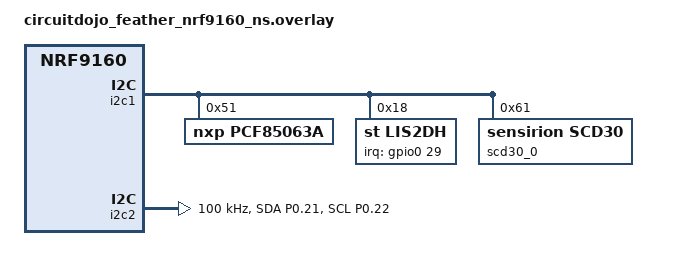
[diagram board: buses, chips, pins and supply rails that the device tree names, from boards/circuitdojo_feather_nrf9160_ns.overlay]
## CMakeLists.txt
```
# Copyright (c) 2022-2023 Golioth, Inc.
# SPDX-License-Identifier: Apache-2.0

cmake_minimum_required(VERSION 3.20.0)

find_package(Zephyr REQUIRED HINTS $ENV{ZEPHYR_BASE})

project(rd_template)

if(CONFIG_SPS30)
    zephyr_include_directories(${WEST_TOPDIR}/app/external/sensirion/embedded-common/common)
    zephyr_include_directories(${WEST_TOPDIR}/app/external/sensirion/embedded-common/i2c)
    zephyr_include_directories(${WEST_TOPDIR}/app/external/sensirion/embedded-sps/sps-common)
    zephyr_include_directories(${WEST_TOPDIR}/app/external/sensirion/embedded-sps/sps30-i2c)
endif()

target_sources(app PRIVATE src/main.c)
target_sources(app PRIVATE src/app_rpc.c)
target_sources(app PRIVATE src/app_settings.c)
target_sources(app PRIVATE src/app_state.c)
target_sources(app PRIVATE src/app_sensors.c)
if(CONFIG_SPS30)
    target_sources(app PRIVATE src/sensors.c)
    target_sources(app PRIVATE ${WEST_TOPDIR}/app/external/sensirion/embedded-common/common/sensirion_common.c)
    target_sources(app PRIVATE ${WEST_TOPDIR}/app/external/sensirion/embedded-common/i2c/sensirion_i2c_hal.c)
    target_sources(app PRIVATE ${WEST_TOPDIR}/app/external/sensirion/embedded-common/i2c/sensirion_i2c.c)
    target_sources(app PRIVATE ${WEST_TOPDIR}/app/external/sensirion/embedded-sps/sps30-i2c/sps30.c)
endif()
add_subdirectory_ifdef(CONFIG_ALUDEL_BATTERY_MONITOR src/battery_monitor)
```

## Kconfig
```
# Copyright (c) 2022-2023 Golioth, Inc.
# SPDX-License-Identifier: Apache-2.0

mainmenu "Golioth application options"

if DNS_RESOLVER

config DNS_SERVER_IP_ADDRESSES
	default y

config DNS_SERVER1
	default "1.1.1.1"

endif # DNS_RESOLVER

config SPS30
    bool "Enable SPS30 sensor support"
    default n
    help
        This option enables support for the SPS30 Particulate Matter sensor.

rsource "src/battery_monitor/Kconfig"

source "Kconfig.zephyr"
```

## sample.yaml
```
# Copyright (c) 2022-2023 Golioth, Inc.
# SPDX-License-Identifier: Apache-2.0

sample:
  description: Golioth Reference Design Template
  name: rd_template
common:
  harness: net
  platform_allow: >
    nrf9160dk_nrf9160_ns
    esp32_devkitc_wroom
  tags: golioth
```

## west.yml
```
# Copyright (c) 2022-2023 Golioth, Inc.
# SPDX-License-Identifier: Apache-2.0

manifest:
  version: 0.8

  projects:
    - name: golioth
      path: modules/lib/golioth-firmware-sdk
      revision: v0.11.1
      url: https://github.com/golioth/golioth-firmware-sdk.git
      west-commands: scripts/west-commands.yml
      submodules: true
      import:
        file: west-ncs.yml
        path-prefix: deps
        name-allowlist:
          - nrf
          - zephyr
          - cmsis
          - hal_nordic
          - mbedtls
          - mbedtls-nrf
          - mcuboot
          - net-tools
          - nrfxlib
          - qcbor
          - segger
          - tfm-mcuboot
          - tinycrypt
          - trusted-firmware-m
          - zcbor

    - name: golioth-zephyr-boards
      path: deps/modules/lib/golioth-boards
      revision: v1.0.1
      url: https://github.com/golioth/golioth-zephyr-boards

    - name: libostentus
      path: deps/modules/lib/libostentus
      revision: v1.0.0
      url: https://github.com/golioth/libostentus

    - name: zephyr-network-info
      path: deps/modules/lib/network-info
      revision: v1.1.0
      url: https://github.com/golioth/zephyr-network-info

    - name: sensirion_drivers
      path: modules/sensirion_drivers
      url: https://github.com/nobodyguy/sensirion_zephyr_drivers
      revision: main

    - name: sensirion-embedded-common
      path: app/external/sensirion/embedded-common
      revision: 08c9924e33b69b650fa36eed6cbdd29479d25ab6
      url: https://github.com/golioth/sensirion-embedded-common.git

    - name: sensirion-embedded-sps
      path: app/external/sensirion/embedded-sps
      revision: ef781982b917249ebdafd30673b281b7c3f0764a
      url: https://github.com/golioth/sensirion-embedded-sps.git

  self:
    path: app
```

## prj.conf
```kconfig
# Copyright (c) 2022-2023 Golioth, Inc.
# SPDX-License-Identifier: Apache-2.0

# Enable Golioth Firmware SDK
CONFIG_GOLIOTH_FIRMWARE_SDK=y

# Golioth services used in this app
CONFIG_GOLIOTH_FW_UPDATE=y
CONFIG_GOLIOTH_LIGHTDB_STATE=y
CONFIG_LOG_BACKEND_GOLIOTH=n
CONFIG_GOLIOTH_RPC=y
CONFIG_GOLIOTH_SETTINGS=y
CONFIG_GOLIOTH_STREAM=y

# Enable common sample library
CONFIG_GOLIOTH_SAMPLE_COMMON=y

# Application
CONFIG_MAIN_STACK_SIZE=2048
CONFIG_SYSTEM_WORKQUEUE_STACK_SIZE=2048

# Flash memory (etc.) for firmware upgrade
CONFIG_FLASH=y
CONFIG_FLASH_MAP=y
CONFIG_NVS=y
CONFIG_STREAM_FLASH=y
CONFIG_IMG_MANAGER=y
CONFIG_IMG_ERASE_PROGRESSIVELY=y
CONFIG_REBOOT=y

# The rest of the runtime credentials config
CONFIG_SETTINGS=y
CONFIG_SETTINGS_RUNTIME=y
CONFIG_GOLIOTH_SAMPLE_PSK_SETTINGS=y
CONFIG_GOLIOTH_SAMPLE_SETTINGS_AUTOLOAD=y
CONFIG_GOLIOTH_SAMPLE_SETTINGS_SHELL=y

# Misc.
CONFIG_JSON_LIBRARY=y
CONFIG_NETWORK_INFO=y
CONFIG_I2C=y

# Firmware version used in DFU process
CONFIG_MCUBOOT_IMGTOOL_SIGN_VERSION="2.0.0"

CONFIG_I2C=y
CONFIG_SENSOR=y
CONFIG_SCD30=y

CONFIG_FPU=y
```

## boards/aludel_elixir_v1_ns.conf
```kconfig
# Copyright (c) 2023 Golioth, Inc.
# SPDX-License-Identifier: Apache-2.0

# General config
CONFIG_HEAP_MEM_POOL_SIZE=4096
CONFIG_NEWLIB_LIBC=y

# Networking
CONFIG_NET_SOCKETS_OFFLOAD=y
CONFIG_NET_IPV6=y
CONFIG_NET_IPV6_NBR_CACHE=n
CONFIG_NET_IPV6_MLD=n

# Increase native TLS socket implementation, so that it is chosen instead of
# offloaded nRF91 sockets
CONFIG_NET_SOCKETS_TLS_PRIORITY=35

# Modem library
CONFIG_NRF_MODEM_LIB=y
CONFIG_NRF_MODEM_LIB_ON_FAULT_APPLICATION_SPECIFIC=y

# LTE connectivity with network connection manager
CONFIG_LTE_CONNECTIVITY=y
CONFIG_NET_CONNECTION_MANAGER=y
CONFIG_NET_CONNECTION_MANAGER_STACK_SIZE=1024

# Increased sysworkq size, due to LTE connectivity
CONFIG_SYSTEM_WORKQUEUE_STACK_SIZE=2048

# Disable options y-selected by NCS for no good reason
CONFIG_MBEDTLS_KEY_EXCHANGE_DHE_PSK_ENABLED=n
CONFIG_MBEDTLS_KEY_EXCHANGE_DHE_RSA_ENABLED=n

# Battery Support
CONFIG_ALUDEL_BATTERY_MONITOR=n

# Add Network Info Support
CONFIG_MODEM_INFO=y
CONFIG_GOLIOTH_RPC_MAX_RESPONSE_LEN=512

# Generate MCUboot compatible images
CONFIG_BOOTLOADER_MCUBOOT=y

# Use Golioth Ostentus Faceplate
CONFIG_LIB_OSTENTUS=y
```

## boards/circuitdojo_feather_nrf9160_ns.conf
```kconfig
# Copyright (c) 2023 Golioth, Inc.
# SPDX-License-Identifier: Apache-2.0

# GPS Antenna configuration
CONFIG_MODEM_ANTENNA=y
CONFIG_MODEM_ANTENNA_AT_COEX0="AT\%XCOEX0=1,1,1565,1586"

# General config
CONFIG_HEAP_MEM_POOL_SIZE=4096
CONFIG_NEWLIB_LIBC=y
CONFIG_NEWLIB_LIBC_FLOAT_SCANF=y
CONFIG_NEWLIB_LIBC_FLOAT_PRINTF=y

# Networking
CONFIG_NET_SOCKETS_OFFLOAD=y
CONFIG_NET_IPV6=y
CONFIG_NET_IPV6_NBR_CACHE=n
CONFIG_NET_IPV6_MLD=n

# Increase native TLS socket implementation, so that it is chosen instead of
# offloaded nRF91 sockets
CONFIG_NET_SOCKETS_TLS_PRIORITY=35

# Modem library
CONFIG_NRF_MODEM_LIB=y
CONFIG_NRF_MODEM_LIB_ON_FAULT_APPLICATION_SPECIFIC=y

# LTE connectivity with network connection manager
CONFIG_LTE_CONNECTIVITY=y
CONFIG_NET_CONNECTION_MANAGER=y
CONFIG_NET_CONNECTION_MANAGER_MONITOR_STACK_SIZE=1024

# CONFIG_GOLIOTH_SAMPLE_NRF91_LTE_MONITOR=n # App implements its own LTE Monitor

# Add Logs for LTE Link Handler
CONFIG_GOLIOTH_SAMPLE_NRF91_LTE_MONITOR=y

# Disable options y-selected by NCS for no good reason
CONFIG_MBEDTLS_KEY_EXCHANGE_DHE_PSK_ENABLED=n
CONFIG_MBEDTLS_KEY_EXCHANGE_DHE_RSA_ENABLED=n

# Add Network Info Support
CONFIG_MODEM_INFO=y

# Generate MCUboot compatible images
CONFIG_BOOTLOADER_MCUBOOT=y
# CONFIG_I2C_NRFX_TRANSFER_TIMEOUT=50
# CONFIG_I2C_DUMP_MESSAGES=y
# CONFIG_I2C_LOG_LEVEL_DBG=y


# CONFIG_PDN=y
# CONFIG_PDN_DEFAULTS_OVERRIDE=y
# CONFIG_PDN_DEFAULT_FAM_IPV4V6=y
# # Note: "ip" is set by PDN_DEFAULT_FAM kconfig's
# # example:
# # AT+CGDCONT=1,"ip","apn" - below only sets APN field
# CONFIG_PDN_DEFAULT_APN="hologram"
```

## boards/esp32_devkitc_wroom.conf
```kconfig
CONFIG_WIFI=y
CONFIG_HEAP_MEM_POOL_SIZE=98304
# see https://github.com/zephyrproject-rtos/zephyr/discussions/60988#discussioncomment-6594996
CONFIG_ESP_HEAP_MEM_POOL_REGION_1_SIZE=4096

CONFIG_NEWLIB_LIBC=y
CONFIG_NEWLIB_LIBC_FLOAT_SCANF=y
CONFIG_NEWLIB_LIBC_FLOAT_PRINTF=y

CONFIG_NETWORKING=y
CONFIG_NET_L2_ETHERNET=y

CONFIG_NET_IPV6=n
CONFIG_NET_IPV4=y
CONFIG_NET_DHCPV4=y

CONFIG_NET_LOG=y

CONFIG_MBEDTLS_ENTROPY_ENABLED=y
CONFIG_MBEDTLS_KEY_EXCHANGE_ECDHE_ECDSA_ENABLED=y
CONFIG_MBEDTLS_ECP_ALL_ENABLED=y

CONFIG_ESP32_WIFI_STA_AUTO_DHCPV4=y

CONFIG_NET_L2_WIFI_SHELL=y
CONFIG_GOLIOTH_SAMPLE_WIFI=y
CONFIG_GOLIOTH_SAMPLE_WIFI_SETTINGS=y
CONFIG_GOLIOTH_SAMPLE_COMMON=y
CONFIG_GOLIOTH_SAMPLE_DHCP_BIND=n

# Generate MCUboot compatible images
CONFIG_BOOTLOADER_MCUBOOT=y

CONFIG_GOLIOTH_COAP_REQUEST_QUEUE_MAX_ITEMS=50
```

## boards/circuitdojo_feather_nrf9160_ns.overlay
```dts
/*
 * Copyright (c) 2023 Golioth, Inc.
 *
 * SPDX-License-Identifier: Apache-2.0
 */

// #include "nrf_dk_common.dtsi"

/ {
	aliases {
		golioth-led = &blue_led;
		sw1 = &button0;
		sensirion-hal-i2c = &i2c2;
	};
};


&pinctrl {
	i2c2_default: i2c2_default {
		group1 {
			psels = <NRF_PSEL(TWIM_SDA, 0, 21)>,
				<NRF_PSEL(TWIM_SCL, 0, 22)>;
		};
	};

	i2c2_sleep: i2c2_sleep {
		group1 {
			psels = <NRF_PSEL(TWIM_SDA, 0, 21)>,
				<NRF_PSEL(TWIM_SCL, 0, 22)>;
			low-power-enable;
		};
	};
};

&i2c1 {
	compatible = "nordic,nrf-twim";
	status = "okay";

	pinctrl-0 = <&i2c1_default>;
	pinctrl-1 = <&i2c1_sleep>;
	pinctrl-names = "default", "sleep";
	pcf85063a@51 {
		compatible = "nxp,pcf85063a";
		reg = <0x51>;
	};

	lis2dh: lis2dh@18 {
		compatible = "st,lis2dh";
		reg = <0x18>;
		irq-gpios = <&gpio0 29 GPIO_ACTIVE_HIGH>;
		disconnect-sdo-sa0-pull-up;
	};

	scd30_0@61 {
		compatible = "sensirion,scd30";
		reg = <0x61>;
		sample-period = <5>;
		altitude = <0>;
		temperature-offset = <0>;
	};
};

&spi2 {
	status = "disabled";
};

&i2c2 {
	compatible = "nordic,nrf-twim";
	status = "okay";
	clock-frequency = <I2C_BITRATE_STANDARD>;
	pinctrl-0 = <&i2c2_default>;
	pinctrl-1 = <&i2c2_sleep>;
	pinctrl-names = "default", "sleep";
};
```

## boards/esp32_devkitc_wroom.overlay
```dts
/*
 * Copyright (c) 2021 Espressif Systems (Shanghai) Co., Ltd.
 *
 * SPDX-License-Identifier: Apache-2.0
 */

&wifi {
	status = "okay";
};

/ {
	aliases {
		golioth-led = &led0;
		sw1 = &button0;
		sensirion-hal-i2c = &i2c1;
	};

	leds {
		compatible = "gpio-leds";
		led0: led_0 {
			gpios = <&gpio0 25 GPIO_ACTIVE_HIGH>;
			label = "LED 0";
		};
	};

	buttons {
		compatible = "gpio-keys";
		button0: button_0 {
			gpios = < &gpio0 0 (GPIO_PULL_UP | \
			GPIO_ACTIVE_LOW)>;
			label = "PRG Button";
		};
	};

};

&i2c0 {
	// compatible = "espressif,esp32";
	status = "okay";

	scd30_0@61 {
		compatible = "sensirion,scd30";
		reg = <0x61>;
		sample-period = <5>;
	};
};

&pinctrl {
	i2c1_default: i2c1_default {
		group1 {
			pinmux = <I2C1_SDA_GPIO4>,
				 <I2C1_SCL_GPIO5>;
			bias-pull-up;
			drive-open-drain;
			output-high;
		};
	};
};

&i2c1 {
	status = "okay";
	clock-frequency = <I2C_BITRATE_STANDARD>;
	sda-gpios = <&gpio0 4 GPIO_OPEN_DRAIN>;
	scl-gpios = <&gpio0 5 GPIO_OPEN_DRAIN>;
	pinctrl-0 = <&i2c1_default>;
	pinctrl-names = "default";
};
```

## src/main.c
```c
/*
 * Copyright (c) 2022-2023 Golioth, Inc.
 *
 * SPDX-License-Identifier: Apache-2.0
 */

#include <zephyr/logging/log.h>
LOG_MODULE_REGISTER(golioth_rd_template, LOG_LEVEL_DBG);

#include "app_rpc.h"
#include "app_settings.h"
#include "app_state.h"
#include "app_sensors.h"
#include <golioth/client.h>
#include <golioth/fw_update.h>
#include <samples/common/net_connect.h>
#include <samples/common/sample_credentials.h>
#include <zephyr/kernel.h>

#ifdef CONFIG_SOC_NRF9160
#include <modem/lte_lc.h>
#endif
#ifdef CONFIG_LIB_OSTENTUS
#include <libostentus.h>
#endif
#ifdef CONFIG_ALUDEL_BATTERY_MONITOR
#include "battery_monitor/battery.h"
#endif

#include <zephyr/drivers/gpio.h>

#ifdef CONFIG_MODEM_INFO
#include <modem/modem_info.h>
#endif

#include "sensors.h"

/* Current firmware version; update in prj.conf or via build argument */
static const char *_current_version = CONFIG_MCUBOOT_IMGTOOL_SIGN_VERSION;

static struct golioth_client *client;
K_SEM_DEFINE(connected, 0, 1);

static k_tid_t _system_thread = 0;

static const struct gpio_dt_spec golioth_led = GPIO_DT_SPEC_GET(DT_ALIAS(golioth_led), gpios);
static const struct gpio_dt_spec user_btn = GPIO_DT_SPEC_GET(DT_ALIAS(sw1), gpios);
static struct gpio_callback button_cb_data;

/* forward declarations */
void golioth_connection_led_set(uint8_t state);

void wake_system_thread(void)
{
	k_wakeup(_system_thread);
}

static void on_client_event(struct golioth_client *client, enum golioth_client_event event,
			    void *arg)
{
	bool is_connected = (event == GOLIOTH_CLIENT_EVENT_CONNECTED);

	if (is_connected) {
		k_sem_give(&connected);
		golioth_connection_led_set(1);
	}
	LOG_INF("Golioth client %s", is_connected ? "connected" : "disconnected");
}

static void start_golioth_client(void)
{
	/* Get the client configuration from auto-loaded settings */
	const struct golioth_client_config *client_config = golioth_sample_credentials_get();

	/* Create and start a Golioth Client */
	client = golioth_client_create(client_config);

	/* Register Golioth on_connect callback */
	golioth_client_register_event_callback(client, on_client_event, NULL);

	/* Initialize DFU components */
	golioth_fw_update_init(client, _current_version);

	/*** Call Golioth APIs for other services in dedicated app files ***/

	/* Observe State service data */
	// app_state_observe(client);

	/* Initialize app work */
	app_sensors_init(client);

	/* Register Settings service */
	app_settings_register(client);

	/* Register RPC service */
	app_rpc_register(client);
}

#ifdef CONFIG_SOC_NRF9160

static void lte_handler(const struct lte_lc_evt *const evt)
{
	if (evt->type == LTE_LC_EVT_NW_REG_STATUS) {

		if ((evt->nw_reg_status == LTE_LC_NW_REG_REGISTERED_HOME) ||
		    (evt->nw_reg_status == LTE_LC_NW_REG_REGISTERED_ROAMING)) {

			/* Change the state of the Internet LED on Ostentus */
			IF_ENABLED(CONFIG_LIB_OSTENTUS, (led_internet_set(1);));

			if (!client) {
				/* Create and start a Golioth Client */
				start_golioth_client();
			}
		}
	}
}

#endif /* CONFIG_SOC_NRF9160 */

#ifdef CONFIG_MODEM_INFO
static void log_modem_firmware_version(void)
{
	char sbuf[128];

	/* Initialize modem info */
	int err = modem_info_init();

	if (err) {
		LOG_ERR("Failed to initialize modem info: %d", err);
	}

	/* Log modem firmware version */
	modem_info_string_get(MODEM_INFO_FW_VERSION, sbuf, sizeof(sbuf));
	LOG_INF("Modem firmware version: %s", sbuf);
}
#endif

void button_pressed(const struct device *dev, struct gpio_callback *cb, uint32_t pins)
{
	LOG_DBG("Button pressed at %d", k_cycle_get_32());
	/* This function is an Interrupt Service Routine. Do not call functions that
	 * use other threads, or perform long-running operations here
	 */
	k_wakeup(_system_thread);
}

/* Set (unset) LED indicators for active Golioth connection */
void golioth_connection_led_set(uint8_t state)
{
	uint8_t pin_state = state ? 1 : 0;
	/* Turn on Golioth logo LED once connected */
	gpio_pin_set_dt(&golioth_led, pin_state);
	/* Change the state of the Golioth LED on Ostentus */
	IF_ENABLED(CONFIG_LIB_OSTENTUS, (led_golioth_set(pin_state);));
}

int main(void)
{
	int err;

	LOG_DBG("Start Reference Design Template sample");

	LOG_INF("Firmware version: %s", CONFIG_MCUBOOT_IMGTOOL_SIGN_VERSION);
	IF_ENABLED(CONFIG_MODEM_INFO, (log_modem_firmware_version();));

	IF_ENABLED(CONFIG_LIB_OSTENTUS, (
		/* Clear Ostentus memory */
		clear_memory();
		/* Update Ostentus LEDS using bitmask (Power On and Battery) */
		led_bitmask(LED_POW | LED_BAT);
		/* Show Golioth Logo on Ostentus ePaper screen */
		show_splash();
	));

	/* Get system thread id so loop delay change event can wake main */
	_system_thread = k_current_get();

	/* Initialize Golioth logo LED */
	err = gpio_pin_configure_dt(&golioth_led, GPIO_OUTPUT_INACTIVE);
	if (err) {
		LOG_ERR("Unable to configure LED for Golioth Logo");
	}

#ifdef CONFIG_SOC_NRF9160
	/* Start LTE asynchronously if the nRF9160 is used.
	 * Golioth Client will start automatically when LTE connects
	 */

	LOG_INF("Connecting to LTE, this may take some time...");
	lte_lc_init_and_connect_async(lte_handler);

#else
	/* If nRF9160 is not used, start the Golioth Client and block until connected */

	/* Run WiFi/DHCP if necessary */
	if (IS_ENABLED(CONFIG_GOLIOTH_SAMPLE_COMMON)) {
		net_connect();
	}

	/* Start Golioth client */
	start_golioth_client();

	/* Block until connected to Golioth */
	k_sem_take(&connected, K_FOREVER);
#endif /* CONFIG_SOC_NRF9160 */

	/* Set up user button */
	err = gpio_pin_configure_dt(&user_btn, GPIO_INPUT);
	if (err) {
		LOG_ERR("Error %d: failed to configure %s pin %d", err, user_btn.port->name,
			user_btn.pin);
		return err;
	}

	err = gpio_pin_interrupt_configure_dt(&user_btn, GPIO_INT_EDGE_TO_ACTIVE);
	if (err) {
		LOG_ERR("Error %d: failed to configure interrupt on %s pin %d", err,
			user_btn.port->name, user_btn.pin);
		return err;
	}

#ifdef CONFIG_SPS30
	/* Initialize PM sensor */
	err = sps30_sensor_init();
	if (err) {
		LOG_ERR("sps30_sensor_init errored: %d", err);
	}
#endif /* CONFIG_SPS30 */

	gpio_init_callback(&button_cb_data, button_pressed, BIT(user_btn.pin));
	gpio_add_callback(user_btn.port, &button_cb_data);

	IF_ENABLED(CONFIG_LIB_OSTENTUS,(
		/* Set up a slideshow on Ostentus
		 *  - add up to 256 slides
		 *  - use the enum in app_sensors.h to add new keys
		 *  - values are updated using these keys (see app_sensors.c)
		 */
		slide_add(UP_COUNTER, LABEL_UP_COUNTER, strlen(LABEL_UP_COUNTER));
		slide_add(DN_COUNTER, LABEL_DN_COUNTER, strlen(LABEL_DN_COUNTER));
		IF_ENABLED(CONFIG_ALUDEL_BATTERY_MONITOR, (
			slide_add(BATTERY_V, LABEL_BATTERY, strlen(LABEL_BATTERY));
			slide_add(BATTERY_LVL, LABEL_BATTERY, strlen(LABEL_BATTERY));
		));
		slide_add(FIRMWARE, LABEL_FIRMWARE, strlen(LABEL_FIRMWARE));

		/* Set the title ofthe Ostentus summary slide (optional) */
		summary_title(SUMMARY_TITLE, strlen(SUMMARY_TITLE));

		/* Update the Firmware slide with the firmware version */
		slide_set(FIRMWARE, CONFIG_MCUBOOT_IMGTOOL_SIGN_VERSION,
			  strlen(CONFIG_MCUBOOT_IMGTOOL_SIGN_VERSION));

		/* Start Ostentus slideshow with 30 second delay between slides */
		slideshow(30000);
	));

	while (true) {
		app_sensors_read_and_steam();

		k_sleep(K_SECONDS(get_loop_delay_s()));
	}
}
```

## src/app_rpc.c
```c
/*
 * Copyright (c) 2022-2023 Golioth, Inc.
 *
 * SPDX-License-Identifier: Apache-2.0
 */

#include <zephyr/logging/log.h>
#include <zephyr/logging/log_ctrl.h>
LOG_MODULE_REGISTER(app_rpc, LOG_LEVEL_DBG);

#include <golioth/client.h>
#include <golioth/rpc.h>
#include <zephyr/logging/log_ctrl.h>
#include <zephyr/sys/reboot.h>

#include <network_info.h>
#include "app_rpc.h"

static void reboot_work_handler(struct k_work *work)
{
	for (int8_t i = 5; i >= 0; i--) {
		if (i) {
			LOG_INF("Rebooting in %d seconds...", i);
		}
		k_sleep(K_SECONDS(1));
	}

	/* Sync logs before reboot */
	LOG_PANIC();

	sys_reboot(SYS_REBOOT_COLD);
}
K_WORK_DEFINE(reboot_work, reboot_work_handler);

#ifdef CONFIG_SOC_NRF9160
static enum golioth_rpc_status on_get_network_info(zcbor_state_t *request_params_array,
						   zcbor_state_t *response_detail_map,
						   void *callback_arg)
{
	network_info_add_to_map(response_detail_map);

	return GOLIOTH_RPC_OK;
}
#endif /* CONFIG_SOC_NRF9160 */

static enum golioth_rpc_status on_set_log_level(zcbor_state_t *request_params_array,
						zcbor_state_t *response_detail_map,
						void *callback_arg)
{
	double param_0;
	uint8_t log_level;
	bool ok;

	LOG_WRN("on_set_log_level");

	ok = zcbor_float_decode(request_params_array, &param_0);
	if (!ok) {
		LOG_ERR("Failed to decode array item");
		return GOLIOTH_RPC_INVALID_ARGUMENT;
	}

	log_level = (uint8_t)param_0;

	if ((log_level < 0) || (log_level > LOG_LEVEL_DBG)) {

		LOG_ERR("Requested log level is out of bounds: %d", log_level);
		return GOLIOTH_RPC_INVALID_ARGUMENT;
	}

	int source_id = 0;
	char *source_name;

	while (1) {
		source_name = (char *)log_source_name_get(0, source_id);
		if (source_name == NULL) {
			break;
		}

		log_filter_set(NULL, 0, source_id, log_level);
		++source_id;
	}

	LOG_WRN("Log levels for %d modules set to: %d", source_id, log_level);

	ok = zcbor_tstr_put_lit(response_detail_map, "log_modules") &&
	     zcbor_float64_put(response_detail_map, (double)source_id);

	return GOLIOTH_RPC_OK;
}

static enum golioth_rpc_status on_reboot(zcbor_state_t *request_params_array,
					 zcbor_state_t *response_detail_map, void *callback_arg)
{
	/* Use work queue so this RPC can return confirmation to Golioth */
	k_work_submit(&reboot_work);

	return GOLIOTH_RPC_OK;
}

static void rpc_log_if_register_failure(int err)
{
	if (err) {
		LOG_ERR("Failed to register RPC: %d", err);
	}
}

int app_rpc_register(struct golioth_client *client)
{

	struct golioth_rpc *rpc = golioth_rpc_init(client);

	int err;

#ifdef CONFIG_SOC_NRF9160
	err = golioth_rpc_register(rpc, "get_network_info", on_get_network_info, NULL);
	rpc_log_if_register_failure(err);
#endif /* CONFIG_SOC_NRF9160 */

	err = golioth_rpc_register(rpc, "reboot", on_reboot, NULL);
	rpc_log_if_register_failure(err);

	err = golioth_rpc_register(rpc, "set_log_level", on_set_log_level, NULL);
	rpc_log_if_register_failure(err);

	return err;
}
```

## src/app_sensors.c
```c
/*
 * Copyright (c) 2022-2023 Golioth, Inc.
 *
 * SPDX-License-Identifier: Apache-2.0
 */

#include <zephyr/logging/log.h>
LOG_MODULE_REGISTER(app_sensors, LOG_LEVEL_DBG);

#include <golioth/client.h>
#include <golioth/stream.h>
#include <zephyr/drivers/gpio.h>
#include <zephyr/kernel.h>
#include <zephyr/drivers/sensor.h>
#include <sensor/scd30/scd30.h>

#include "app_sensors.h"
#include "app_settings.h"

#ifdef CONFIG_LIB_OSTENTUS
#include <libostentus.h>
#endif
#ifdef CONFIG_ALUDEL_BATTERY_MONITOR
#include "battery_monitor/battery.h"
#endif

static struct golioth_client *client;
/* Add Sensor structs here */

/* Formatting string for sending sensor JSON to Golioth */
#define JSON_FMT		  "{\"counter\":%d,\"co2\":%.2f,\"temperature\":%.2f,\"humidity\":%.2f}"
#define SCD30_SAMPLE_TIME_SECONDS 5U

static const struct device *dev = DEVICE_DT_GET_ANY(sensirion_scd30);

/* Callback for LightDB Stream */

static void async_error_handler(struct golioth_client *client,
				const struct golioth_response *response, const char *path,
				void *arg)
{
	if (response->status != GOLIOTH_OK) {
		LOG_ERR("Async task failed: %d", response->status);
		return;
	}
}

/* This will be called by the main() loop */
/* Do all of your work here! */
void app_sensors_read_and_steam(void)
{
	int err;
	char json_buf[256];
	struct sensor_value co2_concentration;
	struct sensor_value temperature;
	struct sensor_value humidity;

	int rc = sensor_sample_fetch(dev);
	if (rc == 0) {
		rc = sensor_channel_get(dev, SENSOR_CHAN_CO2, &co2_concentration);
	}
	if (rc == 0) {
		rc = sensor_channel_get(dev, SENSOR_CHAN_AMBIENT_TEMP, &temperature);
	}
	if (rc == 0) {
		rc = sensor_channel_get(dev, SENSOR_CHAN_HUMIDITY, &humidity);
	}

	if (rc == -ENODATA) {
		LOG_INF("%s: no new measurment yet.", dev->name);
		LOG_INF("Waiting for 1 second and retrying...");
	} else if (rc != 0) {
		LOG_INF("%s channel get: failed: %d", dev->name, rc);
	}

	IF_ENABLED(CONFIG_ALUDEL_BATTERY_MONITOR, (
		read_and_report_battery(client);
		IF_ENABLED(CONFIG_LIB_OSTENTUS, (
			slide_set(BATTERY_V, get_batt_v_str(), strlen(get_batt_v_str()));
			slide_set(BATTERY_LVL, get_batt_lvl_str(), strlen(get_batt_lvl_str()));
		));
	));

	/* For this demo, we just send counter data to Golioth */
	static uint8_t counter;
	float co2_value = sensor_value_to_float(&co2_concentration) + get_co2_offset_ppm();
	float temperature_value = sensor_value_to_float(&temperature) + get_temperature_offset_gc();
	float humidity_value = sensor_value_to_float(&humidity) + get_humidity_offset_p();

	/* Send sensor data to Golioth */
	/* For this demo we just fake it */
	snprintf(json_buf, sizeof(json_buf), JSON_FMT, counter, co2_value, temperature_value,
		 humidity_value);
	LOG_DBG("%s", json_buf);

	err = golioth_stream_set_async(client, "sensor", GOLIOTH_CONTENT_TYPE_JSON, json_buf,
				       strlen(json_buf), async_error_handler, NULL);
	if (err) {
		LOG_ERR("Failed to send sensor data to Golioth: %d", err);
	}

	IF_ENABLED(CONFIG_LIB_OSTENTUS, (
		/* Update slide values on Ostentus
		 *  -values should be sent as strings
		 *  -use the enum from app_sensors.h for slide key values
		 */
		snprintk(json_buf, sizeof(json_buf), "%d", counter);
		slide_set(UP_COUNTER, json_buf, strlen(json_buf));
		snprintk(json_buf, sizeof(json_buf), "%d", 255 - counter);
		slide_set(DN_COUNTER, json_buf, strlen(json_buf));
	));
	++counter;
}

void app_sensors_init(struct golioth_client *work_client)
{
	client = work_client;
	struct sensor_value sample_period = {
		.val1 = SCD30_SAMPLE_TIME_SECONDS,
	};

	if (!device_is_ready(dev)) {
		LOG_ERR("Could not get SCD30 device");
		return;
	}

	int rc = sensor_attr_set(dev, SENSOR_CHAN_ALL, SCD30_SENSOR_ATTR_SAMPLING_PERIOD,
				 &sample_period);
	if (rc != 0) {
		LOG_ERR("Failed to set sample period. (%d)", rc);
		return;
	}
}
```

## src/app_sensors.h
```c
/*
 * Copyright (c) 2022-2023 Golioth, Inc.
 *
 * SPDX-License-Identifier: Apache-2.0
 */

#ifndef __APP_SENSORS_H__
#define __APP_SENSORS_H__

/** The `app_sensors.c` file performs the important work of this application
 * which is to read sensor values and report them to the Golioth LightDB Stream
 * as time-series data.
 *
 * For this demonstration, a `counter` value is periodically logged and pushed
 * to the Golioth time-series database. This simulated sensor reading occurs
 * when the loop in `main.c` calls `app_sensors_read_and_steam()`. The frequency
 * of this loop is determined by values received from the Golioth Settings
 * Service (see app_settings.h).
 *
 * https://docs.golioth.io/firmware/zephyr-device-sdk/light-db-stream/
 */

#include <golioth/client.h>
#include <stdint.h>

void app_sensors_init(struct golioth_client *work_client);
void app_sensors_read_and_steam(void);
void app_sensors_co2_calibrate(int32_t value);

#define LABEL_UP_COUNTER "Counter"
#define LABEL_DN_COUNTER "Anti-counter"
#define LABEL_BATTERY	 "Battery"
#define LABEL_FIRMWARE	 "Firmware"
#define SUMMARY_TITLE	 "Counters:"

/**
 * Each Ostentus slide needs a unique key. You may add additional slides by
 * inserting elements with the name of your choice to this enum.
 */
typedef enum {
	UP_COUNTER,
	DN_COUNTER,
#ifdef CONFIG_ALUDEL_BATTERY_MONITOR
	BATTERY_V,
	BATTERY_LVL,
#endif
	FIRMWARE
} slide_key;

#endif /* __APP_SENSORS_H__ */
```

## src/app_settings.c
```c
/*
 * Copyright (c) 2022-2023 Golioth, Inc.
 *
 * SPDX-License-Identifier: Apache-2.0
 */

#include <zephyr/logging/log.h>
LOG_MODULE_REGISTER(app_settings, LOG_LEVEL_DBG);

#include <zephyr/kernel.h>
#include <golioth/client.h>
#include <golioth/settings.h>
#include "main.h"
#include "app_settings.h"
#include "app_sensors.h"

static int32_t _loop_delay_s = 60;
static int32_t _co2_offset = 0;
static float _temperature_offset = 0.0;
static float _humidity_offset = 0.0;
static int32_t _scd30_calibration_ppm = 0;
#define LOOP_DELAY_S_MAX      43200
#define LOOP_DELAY_S_MIN      0
#define CO2_OFFSET_S_MAX      1000
#define CO2_OFFSET_S_MIN      -1000
#define CO2_CALIBRATION_S_MIN 400
#define CO2_CALIBRATION_S_MAX 9999

int32_t get_loop_delay_s(void)
{
	return _loop_delay_s;
}

int32_t get_co2_offset_ppm(void)
{
	return _co2_offset;
}

float get_temperature_offset_gc(void)
{
	return _temperature_offset;
}

float get_humidity_offset_p(void)
{
	return _humidity_offset;
}

static void scd30_sensor_set_calibration_work_handler(struct k_work *work)
{
	app_sensors_co2_calibrate(_scd30_calibration_ppm);
}

K_WORK_DEFINE(scd30_sensor_set_calibration_work, scd30_sensor_set_calibration_work_handler);

static enum golioth_settings_status on_loop_delay_setting(int32_t new_value, void *arg)
{
	_loop_delay_s = new_value;
	LOG_INF("Set loop delay to %i seconds", new_value);
	wake_system_thread();
	return GOLIOTH_SETTINGS_SUCCESS;
}

static enum golioth_settings_status on_co2_offset_setting(int32_t new_value, void *arg)
{
	_co2_offset = new_value;
	LOG_INF("Set co2 offset to %i ppm", new_value);
	wake_system_thread();
	return GOLIOTH_SETTINGS_SUCCESS;
}

static enum golioth_settings_status on_temperature_offset_setting(float new_value, void *arg)
{
	_temperature_offset = new_value;
	LOG_INF("Set temperature offset to %.02f °C", (double)new_value);
	wake_system_thread();
	return GOLIOTH_SETTINGS_SUCCESS;
}

static enum golioth_settings_status on_humidity_offset_setting(float new_value, void *arg)
{
	_humidity_offset = new_value;
	LOG_INF("Set humidity offset to %.02f %%", (double)new_value);
	wake_system_thread();
	return GOLIOTH_SETTINGS_SUCCESS;
}

static enum golioth_settings_status on_co2_calibration_value_setting(int32_t new_value, void *arg)
{
	LOG_INF("Set co2 calibration to %.02f %%", (double)new_value);
	/* Only update if value has changed */
	if (_scd30_calibration_ppm == new_value) {
		LOG_DBG("Received CO2_CALIBRATION_PPM setting already matches local value.");
	} else {
		_scd30_calibration_ppm = new_value;
	}
	return GOLIOTH_SETTINGS_SUCCESS;
}

static enum golioth_settings_status on_co2_calibration_start_setting(bool new_value, void *arg)
{
	LOG_INF("Start scd30 calibration %u", new_value);

	if (new_value) {
		k_work_submit(&scd30_sensor_set_calibration_work);
	}

	return GOLIOTH_SETTINGS_SUCCESS;
}

int app_settings_register(struct golioth_client *client)
{
	struct golioth_settings *settings = golioth_settings_init(client);

	int err = golioth_settings_register_int_with_range(settings, "LOOP_DELAY_S",
							   LOOP_DELAY_S_MIN, LOOP_DELAY_S_MAX,
							   on_loop_delay_setting, NULL);

	err |= golioth_settings_register_int_with_range(settings, "CO2_OFFSET_PPM",
							CO2_OFFSET_S_MIN, CO2_OFFSET_S_MAX,
							on_co2_offset_setting, NULL);

	err |= golioth_settings_register_float(settings, "TEMPERATURE_OFFSET_DC",
					       on_temperature_offset_setting, NULL);

	err |= golioth_settings_register_float(settings, "HUMIDITY_OFFSET_G",
					       on_humidity_offset_setting, NULL);

	err |= golioth_settings_register_int_with_range(
		settings, "CO2_CALIBRATION_PPM", CO2_CALIBRATION_S_MIN, CO2_CALIBRATION_S_MAX,
		on_co2_calibration_value_setting, NULL);

	err |= golioth_settings_register_bool(settings, "CO2_START_CALIBRATION_PPM",
					      on_co2_calibration_start_setting, NULL);

	if (err) {
		LOG_ERR("Failed to register settings callback: %d", err);
	}

	return err;
}
```

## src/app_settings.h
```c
/*
 * Copyright (c) 2022-2023 Golioth, Inc.
 *
 * SPDX-License-Identifier: Apache-2.0
 */

/**
 * Process changes received from the Golioth Settings Service and return a code
 * to Golioth to indicate the success or failure of the update.
 *
 * In this demonstration, the device looks for the `LOOP_DELAY_S` key from the
 * Settings Service and uses this value to determine the delay between sensor
 * reads (the period of sleep in the loop of `main.c`.
 *
 * https://docs.golioth.io/firmware/zephyr-device-sdk/device-settings-service
 */

#ifndef __APP_SETTINGS_H__
#define __APP_SETTINGS_H__

#include <stdint.h>
#include <golioth/client.h>

int32_t get_loop_delay_s(void);
int32_t get_co2_offset_ppm(void);
float get_temperature_offset_gc(void);
float get_humidity_offset_p(void);
int app_settings_register(struct golioth_client *client);

#endif /* __APP_SETTINGS_H__ */
```

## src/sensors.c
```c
/*
 * Copyright (c) 2023 Golioth, Inc.
 *
 * SPDX-License-Identifier: Apache-2.0
 */

#include <zephyr/logging/log.h>
LOG_MODULE_REGISTER(sensors, LOG_LEVEL_DBG);

#include <zephyr/drivers/sensor.h>

#include "sensors.h"
#include "app_settings.h"
#include "sensirion_common.h"
#include "sensirion_i2c_hal.h"
#include "sps30.h"

#define SPS30_MUTEX_TIMEOUT 60000

K_MUTEX_DEFINE(sps30_mutex);

int sps30_sensor_init(void)
{
	int err;
	uint8_t fw_major;
	uint8_t fw_minor;
	char serial_number[SPS30_MAX_SERIAL_LEN];

	LOG_DBG("Initializing SPS30 PM sensor (~30 seconds)");

	err = k_mutex_lock(&sps30_mutex, K_MSEC(SPS30_MUTEX_TIMEOUT));
	if (err) {
		LOG_ERR("Error locking SPS30 mutex (lock count: %u): %d", sps30_mutex.lock_count,
			err);
		return err;
	}

	err = sps30_reset();
	if (err) {
		LOG_ERR("SPS30 sensor reset failed");
		k_mutex_unlock(&sps30_mutex);
		return err;
	}
	sensirion_i2c_hal_sleep_usec(SPS30_RESET_DELAY_USEC);

	uint8_t tries = 10;
	while (tries != 0) {
		LOG_DBG("Probing for SPS30 sensor");
		err = sps30_probe();
		if (err == 0) {
			break;
		}
		tries--;
		/* Sleep 1s and try again */
		sensirion_i2c_hal_sleep_usec(1000000);
	}

	if (err) {
		LOG_ERR("SPS30 sensor probing failed");
		k_mutex_unlock(&sps30_mutex);
		return err;
	}

	err = sps30_read_firmware_version(&fw_major, &fw_minor);
	if (err) {
		LOG_ERR("Error reading SPS30 firmware version (error: %d)", err);
		k_mutex_unlock(&sps30_mutex);
		return err;
	} else {
		LOG_DBG("SPS30 firmware version: %u.%u", fw_major, fw_minor);
	}

	err = sps30_get_serial(serial_number);
	if (err) {
		LOG_ERR("Error reading SPS30 serial number (error: %d)", err);
		k_mutex_unlock(&sps30_mutex);
		return err;
	} else {
		LOG_DBG("SPS30 serial number: %s", serial_number);
	}

	err = sps30_start_measurement();
	if (err) {
		LOG_ERR("Error entering SPS30 measurement mode (error: %d)", err);
		k_mutex_unlock(&sps30_mutex);
		return err;
	}

	/* Sleep 30s for the measurements to stabilize */
	sensirion_i2c_hal_sleep_usec(30000000);

	k_mutex_unlock(&sps30_mutex);

	return err;
}

int sps30_sensor_read(struct sps30_sensor_measurement *measurement)
{
	int err;
	struct sps30_measurement sps30_meas;
	struct sps30_measurement sps30_meas_avg = {0};

	/* Get the number of samples to average from Golioth settings */
	uint32_t samples = 10; // get_sps30_samples_per_measurement_s();

	LOG_DBG("Reading SPS30 PM sensor (averaging %u samples over ~%u seconds)", samples,
		samples);

	int count = 0;
	while (count < samples) {
		err = k_mutex_lock(&sps30_mutex, K_MSEC(SPS30_MUTEX_TIMEOUT));
		if (err) {
			LOG_ERR("Error locking SPS30 mutex (lock count: %u): %d",
				sps30_mutex.lock_count, err);
			return err;
		}

		/* Poll the sensor every 0.1s waiting for the data ready status */
		/* Data should be ready every 1s */
		int16_t data_ready_flag = 0;
		int tries = 100;

		while (tries > 0) {
			err = sps30_read_data_ready(&data_ready_flag);
			if (err) {
				LOG_ERR("Error reading SPS30 data ready status flag: %d", err);
				k_mutex_unlock(&sps30_mutex);
				return err;
			}

			if (data_ready_flag)
				break;

			/* Sleep 0.1s and try again */
			sensirion_i2c_hal_sleep_usec(100000);
			tries--;
		}

		if (tries == 0) {
			LOG_ERR("SPS30 data ready flag was never asserted");
			k_mutex_unlock(&sps30_mutex);
			return -1;
		}

		err = sps30_read_measurement(&sps30_meas);
		if (err) {
			LOG_ERR("Error reading SPS30 measurement: %d", err);
			k_mutex_unlock(&sps30_mutex);
			return err;
		}

		k_mutex_unlock(&sps30_mutex);

		sps30_meas_avg.mc_1p0 += sps30_meas.mc_1p0;
		sps30_meas_avg.mc_2p5 += sps30_meas.mc_2p5;
		sps30_meas_avg.mc_4p0 += sps30_meas.mc_4p0;
		sps30_meas_avg.mc_10p0 += sps30_meas.mc_10p0;
		sps30_meas_avg.nc_0p5 += sps30_meas.nc_0p5;
		sps30_meas_avg.nc_1p0 += sps30_meas.nc_1p0;
		sps30_meas_avg.nc_2p5 += sps30_meas.nc_2p5;
		sps30_meas_avg.nc_4p0 += sps30_meas.nc_4p0;
		sps30_meas_avg.nc_10p0 += sps30_meas.nc_10p0;
		sps30_meas_avg.typical_particle_size += sps30_meas.typical_particle_size;

		/* Wait for a new sample to be ready */
		sensirion_i2c_hal_sleep_usec(SPS30_MEASUREMENT_DURATION_USEC);

		count++;
	}

	sps30_meas_avg.mc_1p0 = sps30_meas_avg.mc_1p0 / samples;
	sps30_meas_avg.mc_2p5 = sps30_meas_avg.mc_2p5 / samples;
	sps30_meas_avg.mc_4p0 = sps30_meas_avg.mc_4p0 / samples;
	sps30_meas_avg.mc_10p0 = sps30_meas_avg.mc_10p0 / samples;
	sps30_meas_avg.nc_0p5 = sps30_meas_avg.nc_0p5 / samples;
	sps30_meas_avg.nc_1p0 = sps30_meas_avg.nc_1p0 / samples;
	sps30_meas_avg.nc_2p5 = sps30_meas_avg.nc_2p5 / samples;
	sps30_meas_avg.nc_4p0 = sps30_meas_avg.nc_4p0 / samples;
	sps30_meas_avg.nc_10p0 = sps30_meas_avg.nc_10p0 / samples;
	sps30_meas_avg.typical_particle_size = sps30_meas_avg.typical_particle_size / samples;

	sensor_value_from_float(&measurement->mc_1p0, sps30_meas_avg.mc_1p0);
	sensor_value_from_float(&measurement->mc_2p5, sps30_meas_avg.mc_2p5);
	sensor_value_from_float(&measurement->mc_4p0, sps30_meas_avg.mc_4p0);
	sensor_value_from_float(&measurement->mc_10p0, sps30_meas_avg.mc_10p0);
	sensor_value_from_float(&measurement->nc_0p5, sps30_meas_avg.nc_0p5);
	sensor_value_from_float(&measurement->nc_1p0, sps30_meas_avg.nc_1p0);
	sensor_value_from_float(&measurement->nc_2p5, sps30_meas_avg.nc_2p5);
	sensor_value_from_float(&measurement->nc_4p0, sps30_meas_avg.nc_4p0);
	sensor_value_from_float(&measurement->nc_10p0, sps30_meas_avg.nc_10p0);
	sensor_value_from_float(&measurement->typical_particle_size,
				sps30_meas_avg.typical_particle_size);

	return err;
}

int sps30_sensor_set_fan_auto_cleaning_interval(uint32_t interval_seconds)
{
	int err;

	err = k_mutex_lock(&sps30_mutex, K_MSEC(SPS30_MUTEX_TIMEOUT));
	if (err) {
		LOG_ERR("Error locking SPS30 mutex (lock count: %u): %d", sps30_mutex.lock_count,
			err);
		return err;
	}

	err = sps30_set_fan_auto_cleaning_interval(interval_seconds);
	if (err) {
		LOG_ERR("Error setting SPS30 automatic fan cleaning interval (error: %d)", err);
	} else {
		LOG_INF("Set SPS30 automatic fan cleaning interval to %d second(s)",
			interval_seconds);
	}

	k_mutex_unlock(&sps30_mutex);

	return err;
}

int sps30_sensor_clean_fan(void)
{
	int err;

	LOG_INF("Cleaning SPS30 PM sensor fan (~10 seconds)");

	err = k_mutex_lock(&sps30_mutex, K_MSEC(SPS30_MUTEX_TIMEOUT));
	if (err) {
		LOG_ERR("Error locking SPS30 mutex (lock count: %u): %d", sps30_mutex.lock_count,
			err);
		return err;
	}

	err = sps30_start_manual_fan_cleaning();
	if (err) {
		LOG_ERR("Error starting SPS30 manual fan clearing: %d", err);
		k_mutex_unlock(&sps30_mutex);
		return err;
	}

	/* Sleep 10s for the fan cleaning to finish */
	sensirion_i2c_hal_sleep_usec(10000000);

	k_mutex_unlock(&sps30_mutex);

	return err;
}
```

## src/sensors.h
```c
/*
 * Copyright (c) 2023 Golioth, Inc.
 *
 * SPDX-License-Identifier: Apache-2.0
 */

#include <zephyr/drivers/sensor.h>

struct sps30_sensor_measurement {
	struct sensor_value mc_1p0;
	struct sensor_value mc_2p5;
	struct sensor_value mc_4p0;
	struct sensor_value mc_10p0;
	struct sensor_value nc_0p5;
	struct sensor_value nc_1p0;
	struct sensor_value nc_2p5;
	struct sensor_value nc_4p0;
	struct sensor_value nc_10p0;
	struct sensor_value typical_particle_size;
};

int sps30_sensor_init(void);
int sps30_sensor_read(struct sps30_sensor_measurement *measurement);
int sps30_sensor_set_fan_auto_cleaning_interval(uint32_t interval_seconds);
int sps30_sensor_clean_fan(void);
```
